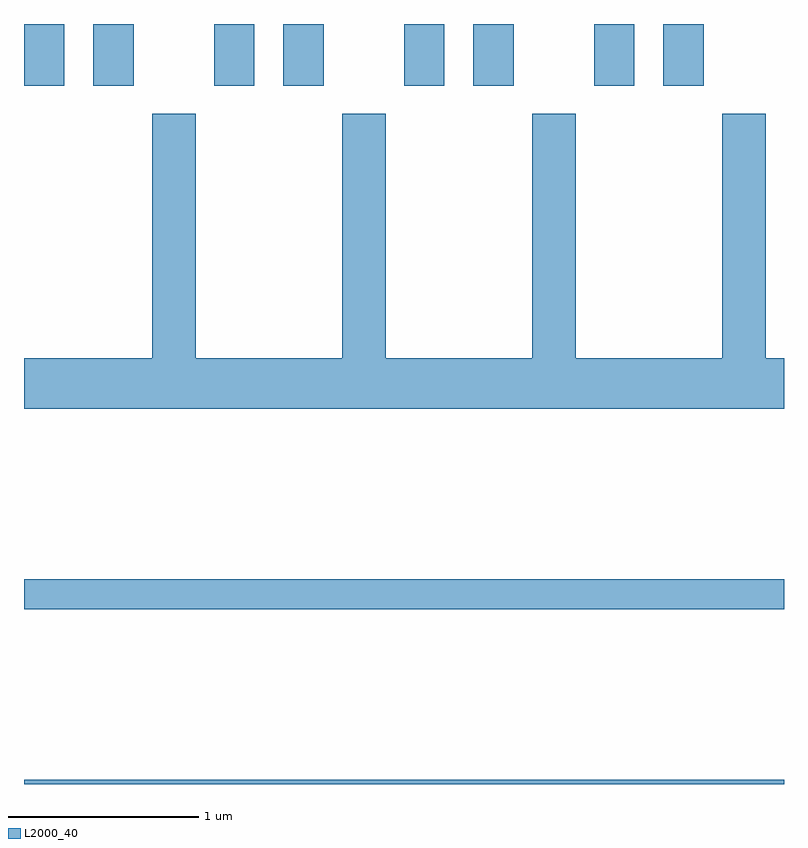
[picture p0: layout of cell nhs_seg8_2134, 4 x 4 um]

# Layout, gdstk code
import gdstk
lib = gdstk.Library(unit=1e-6, precision=1e-09)
def R(c, l, rs):  # rectangles x0, y0, x1, y1
    for r in rs: c.add(gdstk.rectangle(r[:2], r[2:], *l))
def P(c, l, *ps):  # polygons
    for p in ps: c.add(gdstk.Polygon(p, *l))
L2000_40 = (2000, 40)

nhs_seg8_2134 = lib.new_cell('nhs_seg8_2134')
R(nhs_seg8_2134, L2000_40, [(247.611,1934.342,251.611,1934.364), (247.611,1935.261,251.611,1935.419), (247.611,1938.016,247.824,1938.342), (247.976,1938.016,248.189,1938.342), (248.611,1938.016,248.824,1938.342), (248.976,1938.016,249.189,1938.342), (249.611,1938.016,249.824,1938.342), (249.976,1938.016,250.189,1938.342), (250.611,1938.016,250.824,1938.342), (250.976,1938.016,251.189,1938.342)])
P(nhs_seg8_2134, L2000_40, [(251.611,1936.584),(251.514,1936.584),(251.514,1937.869),(251.286,1937.869),(251.286,1936.584),(250.514,1936.584),(250.514,1937.869),(250.286,1937.869),(250.286,1936.584),(249.514,1936.584),(249.514,1937.869),(249.286,1937.869),(249.286,1936.584),(248.514,1936.584),(248.514,1937.869),(248.286,1937.869),(248.286,1936.584),(247.611,1936.584),(247.611,1936.316),(251.611,1936.316)])

lib.write_gds('nhs_seg8_2134.gds')
